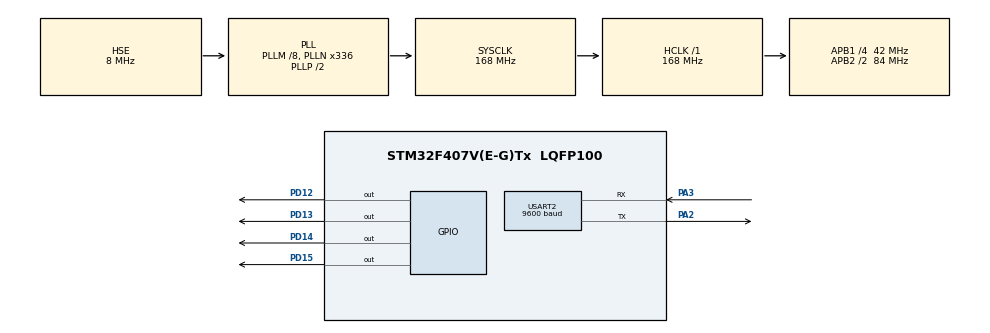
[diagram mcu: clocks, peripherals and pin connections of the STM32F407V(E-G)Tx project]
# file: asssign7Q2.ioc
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Mcu.Family=STM32F4
Mcu.Name=STM32F407V(E-G)Tx
Mcu.Package=LQFP100
NVIC.PriorityGroup=NVIC_PRIORITYGROUP_0
PA2.Mode=Asynchronous
PA2.Signal=USART2_TX
PA3.Mode=Asynchronous
PA3.Signal=USART2_RX
PD12.Signal=GPIO_Output
PD13.Signal=GPIO_Output
PD14.Signal=GPIO_Output
PD15.Signal=GPIO_Output
ProjectManager.HeapSize=0x200
ProjectManager.StackSize=0x400
ProjectManager.TargetToolchain=STM32CubeIDE
RCC.48MHZClocksFreq_Value=48000000
RCC.AHBFreq_Value=168000000
RCC.APB1CLKDivider=RCC_HCLK_DIV4
RCC.APB1Freq_Value=42000000
RCC.APB1TimFreq_Value=84000000
RCC.APB2CLKDivider=RCC_HCLK_DIV2
RCC.APB2Freq_Value=84000000
RCC.APB2TimFreq_Value=168000000
RCC.CortexFreq_Value=168000000
RCC.HCLKFreq_Value=168000000
RCC.HSE_VALUE=8000000
RCC.HSI_VALUE=16000000
RCC.PLLM=8
RCC.PLLN=336
RCC.PLLQ=7
RCC.PLLSourceVirtual=RCC_PLLSOURCE_HSE
RCC.SYSCLKFreq_VALUE=168000000
RCC.SYSCLKSource=RCC_SYSCLKSOURCE_PLLCLK
RCC.VCOOutputFreq_Value=336000000
USART2.BaudRate=9600
USART2.VirtualMode=VM_ASYNC
board=STM32F407G-DISC1

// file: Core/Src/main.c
/* USER CODE BEGIN Header */
/**
  ******************************************************************************
  * @file           : main.c
  * @brief          : Main program body
  ******************************************************************************
  * @attention
  *
  * Copyright (c) 2025 STMicroelectronics.
  * All rights reserved.
  *
  * This software is licensed under terms that can be found in the LICENSE file
  * in the root directory of this software component.
  * If no LICENSE file comes with this software, it is provided AS-IS.
  *
  ******************************************************************************
  */
/* USER CODE END Header */
#include "main.h"
#include<string.h>

#define MAX_LEN 100
uint8_t rx_byte;             // single incoming byte
char rx_buffer[MAX_LEN];     // store full string
uint16_t rx_index = 0;       // current position
uint8_t on;

UART_HandleTypeDef huart2;

void SystemClock_Config(void);
static void MX_GPIO_Init(void);
static void MX_USART2_UART_Init(void);

int main(void)
{

  /* MCU Configuration--------------------------------------------------------*/

  /* Reset of all peripherals, Initializes the Flash interface and the Systick. */
  HAL_Init();

  /* Configure the system clock */
  SystemClock_Config();

  /* Initialize all configured peripherals */
  MX_GPIO_Init();
  MX_USART2_UART_Init();

  /* Infinite loop */
  while (1)
  {

    /* USER CODE BEGIN 3 */
	  HAL_UART_Receive(&huart2, &rx_byte, 1, HAL_MAX_DELAY);

	        /* Echo received byte */
	        HAL_UART_Transmit(&huart2, &rx_byte, 1, HAL_MAX_DELAY);

	        /* ENTER key handling */
	        if (rx_byte == '\r')
	        {
	            rx_buffer[rx_index] = '\0';   // terminate string

	            char msg1[]="\n";
	            HAL_UART_Transmit(&huart2, (uint8_t*)msg1, strlen(msg1), HAL_MAX_DELAY);
	            {
	            if(strcmp(rx_buffer,"red_on")==0)
	            {
	          	  HAL_GPIO_TogglePin(GPIOD, GPIO_PIN_14);
	            }
	            else if(strcmp(rx_buffer,"orange_on")==0)
	            {
	          	  HAL_GPIO_TogglePin(GPIOD, GPIO_PIN_13);
	            }
	            else
	            {
	          	char msg2[]="INVALID COMMAND\n";
	              HAL_UART_Transmit(&huart2, (uint8_t*)msg2, strlen(msg2), HAL_MAX_DELAY);
	            }
	            }

	            strupr(rx_buffer);

	           // char msg3[] = "\r\n";
	            //HAL_UART_Transmit(&huart2, (uint8_t*)msg3, strlen(msg3), HAL_MAX_DELAY);

	            rx_index = 0;   // reset buffer
	        }
	        else
	        {
	            /* Store character */
	            if (rx_index < MAX_LEN - 1)
	            {
	                rx_buffer[rx_index++] = rx_byte;
	            }
	        }
  }

  /* USER CODE END 3 */
}

void SystemClock_Config(void)
{
  RCC_OscInitTypeDef RCC_OscInitStruct = {0};
  RCC_ClkInitTypeDef RCC_ClkInitStruct = {0};

  /** Configure the main internal regulator output voltage
  */
  __HAL_RCC_PWR_CLK_ENABLE();
  __HAL_PWR_VOLTAGESCALING_CONFIG(PWR_REGULATOR_VOLTAGE_SCALE1);

  /** Initializes the RCC Oscillators according to the specified parameters
  * in the RCC_OscInitTypeDef structure.
  */
  RCC_OscInitStruct.OscillatorType = RCC_OSCILLATORTYPE_HSE;
  RCC_OscInitStruct.HSEState = RCC_HSE_OFF;
  RCC_OscInitStruct.PLL.PLLState = RCC_PLL_ON;
  RCC_OscInitStruct.PLL.PLLSource = RCC_PLLSOURCE_HSE;
  RCC_OscInitStruct.PLL.PLLM = 8;
  RCC_OscInitStruct.PLL.PLLN = 336;
  RCC_OscInitStruct.PLL.PLLP = RCC_PLLP_DIV2;
  RCC_OscInitStruct.PLL.PLLQ = 7;
  if (HAL_RCC_OscConfig(&RCC_OscInitStruct) != HAL_OK)
  {
    Error_Handler();
  }

  /** Initializes the CPU, AHB and APB buses clocks
  */
  RCC_ClkInitStruct.ClockType = RCC_CLOCKTYPE_HCLK|RCC_CLOCKTYPE_SYSCLK
                              |RCC_CLOCKTYPE_PCLK1|RCC_CLOCKTYPE_PCLK2;
  RCC_ClkInitStruct.SYSCLKSource = RCC_SYSCLKSOURCE_PLLCLK;
  RCC_ClkInitStruct.AHBCLKDivider = RCC_SYSCLK_DIV1;
  RCC_ClkInitStruct.APB1CLKDivider = RCC_HCLK_DIV4;
  RCC_ClkInitStruct.APB2CLKDivider = RCC_HCLK_DIV2;

  if (HAL_RCC_ClockConfig(&RCC_ClkInitStruct, FLASH_LATENCY_5) != HAL_OK)
  {
    Error_Handler();
  }
}

static void MX_USART2_UART_Init(void)
{

  huart2.Instance = USART2;
  huart2.Init.BaudRate = 9600;
  huart2.Init.WordLength = UART_WORDLENGTH_8B;
  huart2.Init.StopBits = UART_STOPBITS_1;
  huart2.Init.Parity = UART_PARITY_NONE;
  huart2.Init.Mode = UART_MODE_TX_RX;
  huart2.Init.HwFlowCtl = UART_HWCONTROL_NONE;
  huart2.Init.OverSampling = UART_OVERSAMPLING_16;
  if (HAL_UART_Init(&huart2) != HAL_OK)
  {
    Error_Handler();
  }

}

static void MX_GPIO_Init(void)
{
  GPIO_InitTypeDef GPIO_InitStruct = {0};

  /* GPIO Ports Clock Enable */
  __HAL_RCC_GPIOA_CLK_ENABLE();
  __HAL_RCC_GPIOD_CLK_ENABLE();

  /*Configure GPIO pin Output Level */
  HAL_GPIO_WritePin(GPIOD, GPIO_PIN_12|GPIO_PIN_13|GPIO_PIN_14|GPIO_PIN_15, GPIO_PIN_RESET);

  /*Configure GPIO pins : PD12 PD13 PD14 PD15 */
  GPIO_InitStruct.Pin = GPIO_PIN_12|GPIO_PIN_13|GPIO_PIN_14|GPIO_PIN_15;
  GPIO_InitStruct.Mode = GPIO_MODE_OUTPUT_PP;
  GPIO_InitStruct.Pull = GPIO_NOPULL;
  GPIO_InitStruct.Speed = GPIO_SPEED_FREQ_LOW;
  HAL_GPIO_Init(GPIOD, &GPIO_InitStruct);

}

void Error_Handler(void)
{
  __disable_irq();
  while (1)
  {
  }
}
